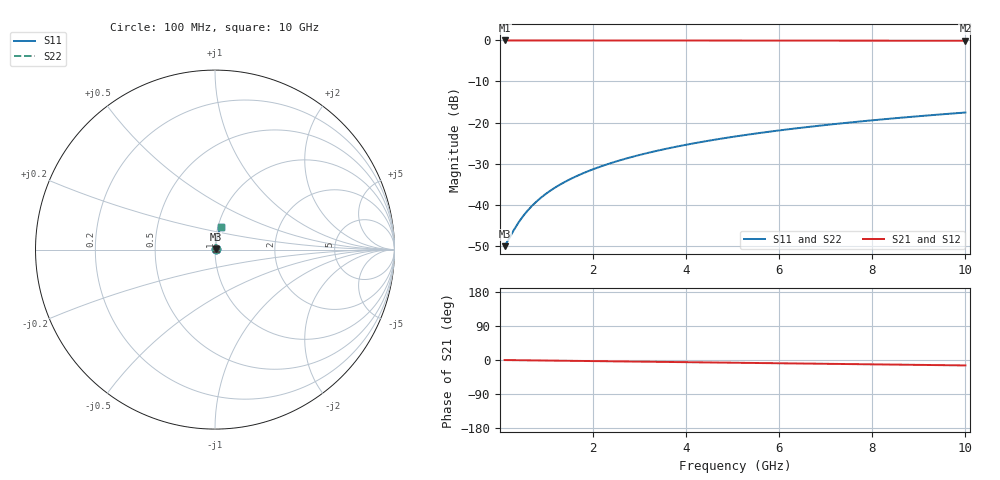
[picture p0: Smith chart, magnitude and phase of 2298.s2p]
# Hz S RI R 50.00
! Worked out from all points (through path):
!   100 points, 100 MHz to 10 GHz, reference 50 ohm
!   highest |S21| = -0.02 dB at 100 MHz (marker M1); lowest = -0.1 dB at 10 GHz (marker M2)
!   group delay of S21, straight-line fit = 3.98 ps
!   lowest |S11| = -50.1 dB at 100 MHz (marker M3), VSWR 1.01, Z = 50.3 + j0.134 ohm
!   |S11| at or under -10 dB: start of sweep to end of sweep
!   |S22| runs from -50.1 to -17.6 dB; largest |S21 - S12| = 1e-12
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1e8  0.00283 0.00133  0.9972 -0.0025  0.9972 -0.0025  0.00283 0.00133
3e8  0.00288 0.004  0.9971 -0.00749  0.9971 -0.00749  0.00288 0.004
4e8  0.00292 0.00533  0.9971 -0.00998  0.9971 -0.00998  0.00292 0.00533
5e8  0.00296 0.00667  0.997 -0.0125  0.997 -0.0125  0.00296 0.00667
6e8  0.003 0.008  0.997 -0.015  0.997 -0.015  0.003 0.008
7e8  0.00305 0.00933  0.9969 -0.0175  0.9969 -0.0175  0.00305 0.00933
8e8  0.00311 0.0107  0.9968 -0.02  0.9968 -0.02  0.00311 0.0107
1e9  0.00324 0.0133  0.9967 -0.025  0.9967 -0.025  0.00324 0.0133
1.2e9  0.0034 0.016  0.9965 -0.0299  0.9965 -0.0299  0.0034 0.016
1.5e9  0.00368 0.02  0.9961 -0.0374  0.9961 -0.0374  0.00368 0.02
1.8e9  0.00402 0.024  0.9957 -0.0449  0.9957 -0.0449  0.00402 0.024
2.1e9  0.00442 0.0279  0.9953 -0.0524  0.9953 -0.0524  0.00442 0.0279
2.5e9  0.00505 0.0332  0.9945 -0.0623  0.9945 -0.0623  0.00505 0.0332
2.9e9  0.00578 0.0385  0.9936 -0.0723  0.9936 -0.0723  0.00578 0.0385
3.4e9  0.00684 0.0451  0.9923 -0.0847  0.9923 -0.0847  0.00684 0.0451
4.2e9  0.00888 0.0555  0.9899 -0.1044  0.9899 -0.1044  0.00888 0.0555
5.1e9  0.0117 0.0672  0.9865 -0.1266  0.9865 -0.1266  0.0117 0.0672
5.9e9  0.0146 0.0774  0.983 -0.1462  0.983 -0.1462  0.0146 0.0774
6.7e9  0.0179 0.0875  0.979 -0.1656  0.979 -0.1656  0.0179 0.0875
7.5e9  0.0216 0.0974  0.9745 -0.1849  0.9745 -0.1849  0.0216 0.0974
8.4e9  0.0262 0.1084  0.9688 -0.2064  0.9688 -0.2064  0.0262 0.1084
1e10  0.0357 0.1274  0.9574 -0.2442  0.9574 -0.2442  0.0357 0.1274
